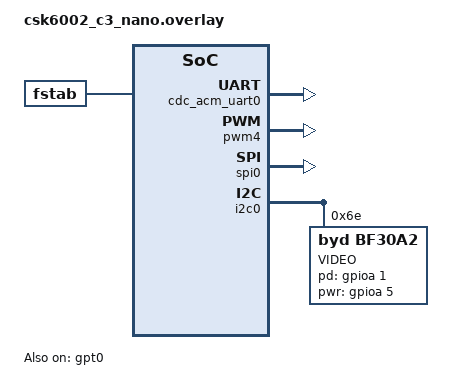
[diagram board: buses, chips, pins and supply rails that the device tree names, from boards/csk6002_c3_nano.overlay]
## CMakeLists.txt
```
cmake_minimum_required(VERSION 3.20.0)
# Copyright (c) 2018 Nordic Semiconductor ASA
# Copyright (c) 2019 Linaro Limited
#
# SPDX-License-Identifier: Apache-2.0
#
#set(ZEPHYR_EXTRA_MODULES $ENV{ZEPHYR_BASE}/../modules/lib/sof_host)

if("${BOARD}" STREQUAL "csk6002_c3_nano")
  set(BUILD_DSP_FIRMWARE OFF)
  find_package(Zephyr REQUIRED HINTS $ENV{ZEPHYR_BASE})
  message(INFO " ${BOARD} compile as Master in this sample")
  target_sources(app PRIVATE src/main.c)
  add_subdirectory(./src)
  zephyr_compile_options(-fno-short-enums)
  zephyr_ld_options(-fno-short-enums)
endif()


if(BUILD_DSP_FIRMWARE)

  set(REMOTE_ZEPHYR_DIR ${CMAKE_CURRENT_BINARY_DIR}/sof-dsp-prefix/src/sof-dsp-build/zephyr)

  if("${BOARD}" STREQUAL "csk6002_c3_nano")
    set(BOARD_REMOTE "ls_adsp_csk6")
  else()
    message(FATAL_ERROR "${BOARD} was not supported for this sample")
  endif()

  project(sof-dsp)

  enable_language(C ASM)

  #target_sources(app PRIVATE src/load_fw.c src/mem_image_store.c src/platform_info.c src/zynqmp_csk6001_rproc_example.c )

  include(ExternalProject)

  set(ENV{XCC_USE_CLANG} "1")
  set(ENV{ZEPHYR_TOOLCHAIN_VARIANT} "xcc")

  ExternalProject_Add(
    sof_remote
    SOURCE_DIR ${APPLICATION_SOURCE_DIR}/remote
    INSTALL_COMMAND ""      # This particular build system has no install command
    CMAKE_CACHE_ARGS -DBOARD:STRING=${BOARD_REMOTE}
    BUILD_BYPRODUCTS "${REMOTE_ZEPHYR_DIR}/${KERNEL_BIN_NAME}"
    # NB: Do we need to pass on more CMake variables?
    BUILD_ALWAYS True
  )

  unset(ENV{XCC_USE_CLANG})
  unset(ENV{ZEPHYR_TOOLCHAIN_VARIANT})
  target_include_directories(app PRIVATE ${CMAKE_CURRENT_SOURCE_DIR} ./src) 

endif()
```

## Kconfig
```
# Private config options for load sencond core firmware app

# SPDX-License-Identifier: Apache-2.0

# Workaround for not being able to have commas in macro arguments

DT_CHOSEN_Z_FLASH_SYSFS_STORAGE := zephyr,flash_sysfs_storage
DT_CHOSEN_Z_FLASH_CONTROLLER := zephyr,flash_controller
DT_CHOSEN_Z_INN_FLASH := zephyr,flash
DT_CHOSEN_Z_IPC_SHM := zephyr,ipc_shm

if USB_MASS_STORAGE

	config DISK_FLASH_START
		default "$(dt_chosen_reg_addr_hex,$(DT_CHOSEN_Z_FLASH_SYSFS_STORAGE))"

	config DISK_FLASH_DEV_NAME
		default "$(dt_chosen_label,$(DT_CHOSEN_Z_FLASH_CONTROLLER))"

	config DISK_VOLUME_SIZE
		default "$(dt_chosen_reg_size_hex,$(DT_CHOSEN_Z_FLASH_SYSFS_STORAGE))"


	config DISK_FLASH_MAX_RW_SIZE
		default 4096
		#default $(dt_node_int_prop_hex,$(DT_CHOSEN_Z_INN_FLASH),erase-block-size)

	config DISK_FLASH_ERASE_ALIGNMENT
		default 0x1000
		#default "$(dt_node_int_prop_hex,$(DT_CHOSEN_Z_INN_FLASH),erase-block-size)"

	config DISK_ERASE_BLOCK_SIZE
		default 0x1000
		#default "$(dt_node_int_prop_hex,$(DT_CHOSEN_Z_INN_FLASH),erase-block-size)"
endif


#SOF IPC MEMORY CONFIG
config SOF_IPC_SHM_BASE_ADDRESS
	default "$(dt_chosen_reg_addr_hex,$(DT_CHOSEN_Z_IPC_SHM))"

config SOF_IPC_SHM_SIZE
	default "$(dt_chosen_reg_size_hex,$(DT_CHOSEN_Z_IPC_SHM))"
	help
	  This option specifies size of the memory region to be used
	  for the SOF IPC shared memory

menu "Example Configuration"

    config EXAMPLE_WIFI_SSID
        string "WiFi SSID"
        default "wifi_ssid"

    config EXAMPLE_WIFI_PASSWORD
        string "WiFi password"
        default "wifi_password"

endmenu

DT_CHOSEN_Z_LISA_HEAP := zephyr,lisa_heap

config LISA_HEAP_BASE_ADDRESS
	hex
	default "$(dt_chosen_reg_addr_hex,$(DT_CHOSEN_Z_LISA_HEAP))"
	help
	  This option specifies base address of the memory region to
	  be used for the lisa heap memory

config LISA_HEAP_SIZE
	hex
	default "$(dt_chosen_reg_size_hex,$(DT_CHOSEN_Z_LISA_HEAP))"
	help
	  This option specifies size of the memory region to be used
	  for the lisa heap memory

source "Kconfig.zephyr"
```

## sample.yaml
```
tests:
  sample.board.csk6001.subsys.sof_host:
    platform_allow: csk6002_c3_nano
    tags: csk6
```

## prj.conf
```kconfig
CONFIG_PRINTK=y
CONFIG_DEBUG=y
CONFIG_LOG=y
CONFIG_LOG_MODE_IMMEDIATE=y
CONFIG_LOG_BUFFER_SIZE=8192
# CONFIG_LOG_STRDUP_MAX_STRING=128
# CONFIG_LOG_STRDUP_BUF_COUNT=64
CONFIG_LOG_DETECT_MISSED_STRDUP=n
CONFIG_LOG_BACKEND_SHOW_COLOR=y
CONFIG_LOG_BACKEND_FORMAT_TIMESTAMP=y
CONFIG_LOG_BACKEND_UART=y
CONFIG_LOG_BACKEND_UART_OUTPUT_TEXT=y
CONFIG_GPIO=y
CONFIG_MAIN_STACK_SIZE=4096
CONFIG_HEAP_MEM_POOL_SIZE=80000


#psram init 
CONFIG_CSK6001_PSRAM=y
CONFIG_NEWLIB_LIBC=y
CONFIG_TEST_RANDOM_GENERATOR=y

#file system
CONFIG_DISK_DRIVER_FLASH=y
CONFIG_FLASH_MAP=y
CONFIG_FILE_SYSTEM=y
CONFIG_FS_FATFS_CODEPAGE=936
CONFIG_FS_FATFS_LFN=y
CONFIG_FS_FATFS_MAX_LFN=255
CONFIG_FS_FATFS_LFN_MODE_BSS=y


#usb mass storage
CONFIG_USB_DEVICE_STACK=y
CONFIG_USB_DEVICE_PRODUCT="Zephyr DFU sample"
CONFIG_USB_MASS_STORAGE=y
CONFIG_MASS_STORAGE_STACK_SIZE=4096
CONFIG_SYSTEM_WORKQUEUE_STACK_SIZE=4096
CONFIG_MASS_STORAGE_DISK_NAME="NAND"

#CONFIG_USB_DRIVER_LOG_LEVEL_ERR=y
#CONFIG_USB_DEVICE_LOG_LEVEL_ERR=y
#CONFIG_USB_MASS_STORAGE_LOG_LEVEL_ERR=y
#CONFIG_USB_DRIVER_LOG_LEVEL_ERR=y

#usb cdc
CONFIG_UART_LINE_CTRL=y
CONFIG_USB_CDC_ACM_RINGBUF_SIZE=4096
CONFIG_USB_CDC_ACM_LOG_LEVEL_ERR=y

#usb dfu
# CONFIG_USB_DFU_CLASS=y
# CONFIG_IMG_MANAGER=y
# CONFIG_IMG_BLOCK_BUF_SIZE=4096
#CONFIG_BOOTLOADER_MCUBOOT=y

#Fixd for WinUSB driver install.
CONFIG_USB_DEVICE_VID=0x2FE3
CONFIG_USB_DEVICE_PID=0x200

#sof
CONFIG_SOF_HOST=y
CONFIG_AVF_DEBUG_LEVEL=4
CONFIG_AVF_STREAM_SVR_DEBUG=n
#CONFIG_AVF_LOG_LEVEL_ERR=y
CONFIG_AVF_USE_FS_FATFS=y
CONFIG_FAT_FILESYSTEM_ELM=y
#CONFIG_AVF_USE_FS_LITTLEFS=y
#CONFIG_FILE_SYSTEM_LITTLEFS=y
CONFIG_POSIX_MAX_FDS=16

#IPM
CONFIG_IPM=y

#shell
CONFIG_SHELL_ARGC_MAX=16
CONFIG_SHELL=y

#network-driver
CONFIG_SPI=y
#network-wifi
CONFIG_WIFI=y
CONFIG_ESP_HOSTED=y
CONFIG_CSK_WIFI_STATION=y
CONFIG_NET_L2_ETHERNET=y
#networking
CONFIG_NETWORKING=y
CONFIG_NET_DHCPV4=y
CONFIG_NET_IPV4=y
CONFIG_NET_TCP=y
CONFIG_NET_SOCKETS=y
CONFIG_NET_SOCKETS_CONNECT_TIMEOUT=3000
CONFIG_NET_SOCKETS_POSIX_NAMES=y
CONFIG_NET_MGMT=y
CONFIG_NET_MGMT_EVENT=y
CONFIG_NET_MGMT_EVENT_STACK_SIZE=4096
CONFIG_NET_TCP_WORKQ_STACK_SIZE=2048
CONFIG_NET_RX_STACK_SIZE=15360
CONFIG_NET_TX_STACK_SIZE=15360
CONFIG_NET_PKT_RX_COUNT=16
CONFIG_NET_PKT_TX_COUNT=16
CONFIG_NET_BUF_RX_COUNT=128
CONFIG_NET_BUF_TX_COUNT=64
CONFIG_NET_CONTEXT_NET_PKT_POOL=y

CONFIG_DNS_RESOLVER=y
CONFIG_DNS_SERVER_IP_ADDRESSES=y
CONFIG_DNS_SERVER1="8.8.8.8"

CONFIG_SYSTEM_WORKQUEUE_PRIORITY=-1
CONFIG_INIT_STACKS=y

# Network debug config
# CONFIG_NET_LOG=y

# HTTP & Websocket
CONFIG_HTTP_CLIENT=y
CONFIG_WEBSOCKET_CLIENT=n

# TLS configuration
CONFIG_MBEDTLS=y
CONFIG_MBEDTLS_BUILTIN=y
CONFIG_MBEDTLS_ENABLE_HEAP=y
CONFIG_MBEDTLS_HEAP_SIZE=10240
CONFIG_MBEDTLS_SSL_MAX_CONTENT_LEN=2048

# to enable TLS
CONFIG_NET_SOCKETS_SOCKOPT_TLS=y
CONFIG_NET_SOCKETS_TLS_MAX_CONTEXTS=10

# ListenAI moudle support
# zephyr System abstraction layer for other rtos, like freertos
CONFIG_ZPORT_SAL=y
# sal port to esp
CONFIG_ZPORT_ESP_TCP=y
CONFIG_ZPORT_ESP_HTTP=y
CONFIG_ZPORT_ESP_WS=y
CONFIG_ZPORT_ESP_ADF=y
# esp http & websocket
CONFIG_ZE_TCP_TRANSPORT=y
CONFIG_ZE_TCP_TRANSPORT_ENABLE_SSL=y
CONFIG_ZE_HTTP_CLIENT=y
CONFIG_ZE_HTTP_CLIENT_ENABLE_HTTPS=y
CONFIG_ZE_WEBSOCKET_CLIENT=y
CONFIG_BASE64=y
# esp adf - pipeline
CONFIG_ZE_ADF=y
CONFIG_ZE_ADF_HTTP_STREAM_ENABLE=y
CONFIG_ZE_ADF_FS_STREAM_ENABLE=y
CONFIG_ZE_ADF_MEMORY_STREAM_ENABLE=y
CONFIG_ZE_ADF_AVF_STREAM_ENABLE=y
# lisa player
CONFIG_LISA_PLAYER=y
CONFIG_LISA_PLAYER_AUDIO_STRCASECMP_ENABLE=y

# Custom config for example
CONFIG_LISA_PLAYER_SHELL_ENABLE=y
CONFIG_LISA_PLAYER_SHELL_DEFINE_FILE="/NAND:/{{YOUR_FILE_NAME}}.wav"
# setup local http_server in ./temp/ folder:
# Linux: export LISA_ZEP_EXEC=1 && lisa zep exec python -m http.server 8080
# Windows: set LISA_ZEP_EXEC=1 && lisa zep exec python -m http.server 8080
# 打开 http://127.0.0.1:8080
CONFIG_LISA_PLAYER_SHELL_DEFINE_URL="http://{{YOUR_PC_IP}}:8080/fdf7ea5d44626d0319e2fac116019d4af.wav"

# config wifi
CONFIG_EXAMPLE_WIFI_SSID="{{YOUR_WIFI_SSID}}"
CONFIG_EXAMPLE_WIFI_PASSWORD="{{YOUR_WIFI_PASSWORD}}"

# Enable Testing

# shell: ze_http_client test_start
CONFIG_ZE_HTTP_CLIENT_TEST_SHELL=y

# shell: ze_websocket_client test_start
CONFIG_ZE_WEBSOCKET_CLIENT_TEST_SHELL=y
# websocket server test paltform: http://www.easyswoole.com/wstool.html
CONFIG_ZE_WEBSOCKET_CLIENT_TEST_URI="ws://82.157.123.54:9010/ajaxchattest"

#shell
CONFIG_SHELL_ARGC_MAX=16
CONFIG_SHELL=y

#cache
CONFIG_CACHE_MANAGEMENT=y

# mcumgr
CONFIG_MCUMGR=y
# Required by the `taskstat` command.
CONFIG_THREAD_MONITOR=y
# Enable statistics and statistic names.
CONFIG_STATS=y
CONFIG_STATS_NAMES=y
# Enable most core commands.
# CONFIG_MCUMGR_CMD_IMG_MGMT=y
CONFIG_MCUMGR_CMD_OS_MGMT=y
CONFIG_MCUMGR_CMD_STAT_MGMT=y
CONFIG_MCUMGR_CMD_FS_MGMT=y
# Enable the shell mcumgr transport.
CONFIG_MCUMGR_SMP_SHELL=y
CONFIG_SHELL_LOG_BACKEND=n
# Enable the UDP mcumgr transports.
# CONFIG_MCUMGR_SMP_UDP=y
# CONFIG_MCUMGR_SMP_UDP_IPV4=y
# CONFIG_MCUMGR_SMP_UDP_IPV6=y
# CONFIG_NET_CONNECTION_MANAGER=y
# CONFIG_NET_BUF_USER_DATA_SIZE=24

# video
CONFIG_I2C=y
CONFIG_DMA=y
CONFIG_PWM=y
CONFIG_VIDEO=y
CONFIG_VIDEO_BF30A2=y
CONFIG_VIDEO_BUFFER_POOL_SZ_MAX=0
```

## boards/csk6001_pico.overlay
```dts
/*
 * Copyright (c) 2021 listenai Intelligent Technology (anhui) Co., Ltd.
 *
 * SPDX-License-Identifier: Apache-2.0
 */
/delete-node/ &storage_partition;

/ {
	chosen {
		/*
		 * shared memory reserved for the inter-processor communication
		 */
		zephyr,ipc_shm = &sramx1;
		zephyr,ipc = &mailbox0;
		zephyr,flash_sysfs_storage = &filesystem_part;
		zephyr,flash_controller = &flash;
	};
	sramx1:memory@30700000{
		compatible = "mmio-sram";
		reg = <0x30700000 0x1000000>;
	};
	fstab {
		compatible = "zephyr,fstab";
		lfs1: lfs1 {
			compatible = "zephyr,fstab,littlefs";
			mount-point = "/lfs1";
			partition = <&filesystem_part>;
			automount ;
			no-format;
			read-size = <16>;
			prog-size = <16>;
			cache-size = <64>;
			lookahead-size = <32>;
			block-cycles = <512>;
		};
	};

};

 
&flash0 {
	partitions {
		compatible = "fixed-partitions";
		#address-cells = <1>;
		#size-cells = <1>;
		filesystem_part: partition@160000 {
			label = "filesystem";
			reg = <0x160000 0x00600000>;
		};
		/*
		 * Reserve the final 640 KiB for file system partition
		 */
		storage_partition: partition@760000 {
			label = "storage";
			reg = <0x760000 0x00a0000>;
		};


	};
};
```

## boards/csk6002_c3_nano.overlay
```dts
/*
 * Copyright (c) 2021 listenai Intelligent Technology (anhui) Co., Ltd.
 *
 * SPDX-License-Identifier: Apache-2.0
 */
/delete-node/ &storage_partition;

/ {
	chosen {
		/*
		 * shared memory reserved for the inter-processor communication
		 */
		zephyr,ipc_shm = &sof_partition;
		zephyr,ipc = &mailbox0;
		zephyr,flash_sysfs_storage = &filesystem_part;
		zephyr,flash_controller = &flash;
		zephyr,uart-mcumgr = &uart0;
		zephyr,lisa_heap = &psram_region1;
	};
	fstab {
		compatible = "zephyr,fstab";
		lfs1: lfs1 {
			compatible = "zephyr,fstab,littlefs";
			mount-point = "/lfs1";
			partition = <&filesystem_part>;
			automount ;
			no-format;
			read-size = <16>;
			prog-size = <16>;
			cache-size = <64>;
			lookahead-size = <32>;
			block-cycles = <512>;
		};
	};

    camera_pclk {
		camera_pclk: camera_pclk {
			pwms = <&pwm4 4 PWM_POLARITY_NORMAL>;
			label = "PWM TO CAMERA PCLK";
		};
	};

};

 
&flash0 {
	partitions {
		compatible = "fixed-partitions";
		#address-cells = <1>;
		#size-cells = <1>;
		filesystem_part: partition@160000 {
			label = "filesystem";
			reg = <0x160000 0x00300000>;
		};
		/*
		 * Reserve the final 640 KiB for file system partition
		 */
		storage_partition: partition@460000 {
			label = "storage";
			reg = <0x460000 0x03a0000>;
		};


	};
};

&zephyr_udc0 {
	cdc_acm_uart0 {
		compatible = "zephyr,cdc-acm-uart";
		label = "CDC_ACM_0";
	};
};

&gpt0 {
	status = "okay";
    pwm5: pwm5 {
        status = "disabled";
    };

	pwm4: pwm4 {
        pinmuxs = <&pinmuxa 4 11>;
        clock-prescaler = <1>;
        status = "okay";
    };
};

&spi0 {
    status = "okay";
    spi-max-frequency = <25000000>;
};


&i2c0 {
        status = "okay";
        pinmuxs = <&pinmuxb 0 8>, <&pinmuxb 1 8>;
        pinmux-names = "SCL", "SDA";

        bf30a2: bf30a2@6e {
            compatible = "byd,bf30a2";
            status = "okay";
            label = "VIDEO";
            reg = <0x6e>;
            pd-gpios = <&gpioa 1 0>;
            pwr-gpios = <&gpioa 5 0>;
            product-id = <0x3b02>;
            spi = <&spi0>;
            xclk-pwm = <&pwm4>;
            xclk-freq = <12500>;
            csk6-spec;
    };
};
```

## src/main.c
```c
/*
 *
 * SPDX-License-Identifier: Apache-2.0
 */
#include <zephyr.h>
#include <device.h>
#include <fs/fs.h>
#include <devicetree.h>
#if defined(CONFIG_AVF_USE_FS_LITTLEFS)
#include <fs/littlefs.h>
#include <storage/flash_map.h>
#include <usb/usb_device.h>
#elif defined(CONFIG_AVF_USE_FS_FATFS)
#include <ff.h>
#include <usb/usb_device.h>
#endif



#if defined(CONFIG_AVF_USE_FS_LITTLEFS) || defined(CONFIG_AVF_USE_FS_FATFS)

#if defined(CONFIG_AVF_USE_FS_LITTLEFS)
/* Matches LFS_NAME_MAX */
#define MAX_PATH_LEN 255
#define PARTITION_NODE DT_NODELABEL(lfs1)
#if DT_NODE_EXISTS(PARTITION_NODE)
FS_FSTAB_DECLARE_ENTRY(PARTITION_NODE);
struct fs_mount_t *p_g_fs_mount = &FS_FSTAB_ENTRY(PARTITION_NODE);
#else /* PARTITION_NODE */
#error "Please declare the region of the file system first"
#endif /* PARTITION_NODE */
#elif defined(CONFIG_AVF_USE_FS_FATFS)
#define FS_MOUNT_POINT CONFIG_AVF_FS_MOUNT_POINT
struct fs_mount_t *p_g_fs_mount = NULL;
static struct fs_mount_t fs_mount_p;
static FATFS s_fat_fs;

#endif

static void s_fs_show(struct fs_mount_t *mp)
{
	unsigned int id = (uintptr_t)mp->storage_dev;
	struct fs_statvfs sbuf;
	const struct flash_area *pfa;
	int rc;

	rc = fs_statvfs(mp->mnt_point, &sbuf);
	if (rc < 0) {
		printk("FAIL: statvfs: %d\n", rc);
		goto out;
	}

	printk("%s: bsize = %lu ; frsize = %lu ;"
	       " blocks = %lu ; bfree = %lu\n",
	       mp->mnt_point, sbuf.f_bsize, sbuf.f_frsize, sbuf.f_blocks, sbuf.f_bfree);

	struct fs_dir_t dir;

	fs_dir_t_init(&dir);

	rc = fs_opendir(&dir, mp->mnt_point);
	printk("%s opendir: %d\n", mp->mnt_point, rc);

	while (rc >= 0) {
		struct fs_dirent ent = { 0 };

		rc = fs_readdir(&dir, &ent);
		if (rc < 0) {
			break;
		}
		if (ent.name[0] == 0) {
			printk("End of files\n");
			break;
		}
		printk("  %c %zu %s\n", (ent.type == FS_DIR_ENTRY_FILE) ? 'F' : 'D', ent.size,
		       ent.name);
	}

	(void)fs_closedir(&dir);
	printk("%s closedir\n", mp->mnt_point);
out:
	return;
}

static int s_fs_init(void)
{
	struct fs_mount_t *mp;
	int rc;

#if defined(CONFIG_AVF_USE_FS_LITTLEFS)
	mp = p_g_fs_mount;
	/* Do not mount if auto-mount has been enabled */
#if !DT_NODE_EXISTS(PARTITION_NODE) ||                                                             \
	!(FSTAB_ENTRY_DT_MOUNT_FLAGS(PARTITION_NODE) & FS_MOUNT_FLAG_AUTOMOUNT)

	rc = fs_mount(mp);
	if (rc < 0) {
		printk("FAIL: mount id %" PRIuPTR " at %s: %d\n", (uintptr_t)mp->storage_dev,
		       mp->mnt_point, rc);
		return rc;
	}
	printk("%s mount: %d\n", mp->mnt_point, rc);
#else
	printk("%s automounted\n", mp->mnt_point);
#endif

#elif defined(CONFIG_AVF_USE_FS_FATFS)
	if (p_g_fs_mount != NULL) {
		printk("The mount point<%s> busy!\n", p_g_fs_mount->mnt_point);
		return -1;
	}
	p_g_fs_mount = &fs_mount_p;
	mp = p_g_fs_mount;
	memset(mp, 0, sizeof(struct fs_mount_t));
	mp->type = FS_FATFS;
	/*mp->flags |= FS_MOUNT_FLAG_NO_FORMAT;*/
	mp->fs_data = &s_fat_fs;
	mp->mnt_point = FS_MOUNT_POINT;
	rc = fs_mount(mp);
	if (rc < 0) {
		printk("FAIL: mount id %" PRIuPTR " at %s: %d\n", (uintptr_t)mp->storage_dev,
		       mp->mnt_point, rc);
		return rc;
	}
	printk("%s mount: %d\n", mp->mnt_point, rc);
#endif
	s_fs_show(mp);

	return 0;
}
#endif

static void s_fs_mount(void)
{
	
	int ret;
//file system init
#if defined(CONFIG_AVF_USE_FS_LITTLEFS) || defined(CONFIG_AVF_USE_FS_FATFS)
	s_fs_init();
#else
	#error "Please define file system type!"
#endif

#if defined(CONFIG_AVF_USE_FS_FATFS)
	ret = usb_enable(NULL);
	if (ret != 0) {
		printk("Failed to enable USB");
		return;
	}
#elif defined(CONFIG_AVF_USE_FS_LITTLEFS)
	if(0 != strcmp(CONFIG_AVF_FS_MOUNT_POINT,p_g_fs_mount->mnt_point)){
		__ASSERT(0,"The avf fs mount point error!");
	}

#endif
}

extern void sof_domain(void);
extern void network_domain(void);
struct k_thread sof_thread;

void main(void)
{

	s_fs_mount();
#ifdef CONFIG_WIFI
	network_domain();
	k_msleep(1000);
#endif
	sof_domain();

	while (1) {
		k_msleep(1000);
	}
}
```

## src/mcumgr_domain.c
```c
#include <zephyr.h>
#include <stats/stats.h>

#ifdef CONFIG_MCUMGR_CMD_OS_MGMT
#include "os_mgmt/os_mgmt.h"
#endif
#ifdef CONFIG_MCUMGR_CMD_IMG_MGMT
#include "img_mgmt/img_mgmt.h"
#endif
#ifdef CONFIG_MCUMGR_CMD_STAT_MGMT
#include "stat_mgmt/stat_mgmt.h"
#endif
#ifdef CONFIG_MCUMGR_CMD_SHELL_MGMT
#include "shell_mgmt/shell_mgmt.h"
#endif
#if defined(CONFIG_MCUMGR_CMD_FS_MGMT) && (defined(CONFIG_AVF_USE_FS_FATFS) || defined(CONFIG_AVF_USE_FS_LITTLEFS))
#include "fs_mgmt/fs_mgmt.h"
#endif


#define LOG_LEVEL LOG_LEVEL_DBG
#include <logging/log.h>
LOG_MODULE_REGISTER(smp_sample);

#include "common.h"

/* Define an example stats group; approximates seconds since boot. */
STATS_SECT_START(smp_svr_stats)
STATS_SECT_ENTRY(ticks)
STATS_SECT_END;

/* Assign a name to the `ticks` stat. */
STATS_NAME_START(smp_svr_stats)
STATS_NAME(smp_svr_stats, ticks)
STATS_NAME_END(smp_svr_stats);

/* Define an instance of the stats group. */
STATS_SECT_DECL(smp_svr_stats) smp_svr_stats;

void mcumgr_domain_task(void *arg1, void *arg2, void *arg3)
{
	int rc = STATS_INIT_AND_REG(smp_svr_stats, STATS_SIZE_32,
				    "smp_svr_stats");
	if (rc < 0) {
		LOG_ERR("Error initializing stats system [%d]", rc);
	}

	/* Register the built-in mcumgr command handlers. */
#ifdef CONFIG_MCUMGR_CMD_FS_MGMT
	fs_mgmt_register_group();
#endif
#ifdef CONFIG_MCUMGR_CMD_OS_MGMT
	os_mgmt_register_group();
#endif
#ifdef CONFIG_MCUMGR_CMD_IMG_MGMT
	img_mgmt_register_group();
#endif
#ifdef CONFIG_MCUMGR_CMD_STAT_MGMT
	stat_mgmt_register_group();
#endif
#ifdef CONFIG_MCUMGR_CMD_SHELL_MGMT
	shell_mgmt_register_group();
#endif
#ifdef CONFIG_MCUMGR_CMD_FS_MGMT
	fs_mgmt_register_group();
#endif
#ifdef CONFIG_MCUMGR_SMP_BT
	start_smp_bluetooth();
#endif
#ifdef CONFIG_MCUMGR_SMP_UDP
	start_smp_udp();
#endif
	/* using __TIME__ ensure that a new binary will be built on every
	 * compile which is convient when testing firmware upgrade.
	 */
	LOG_INF("build time: " __DATE__ " " __TIME__);

	/* The system work queue handles all incoming mcumgr requests.  Let the
	 * main thread idle while the mcumgr server runs.
	 */
	while (1) {
		k_sleep(K_MSEC(1000));
		STATS_INC(smp_svr_stats, ticks);
	}
}

struct k_thread mcumgr_thread;

K_KERNEL_STACK_DEFINE(mcumgr_stack, 512);

void mcumgr_domain(void){
	k_thread_create(&mcumgr_thread, mcumgr_stack,
				K_KERNEL_STACK_SIZEOF(mcumgr_stack), &mcumgr_domain_task, NULL, NULL, NULL,
				1, 0, K_NO_WAIT);
	k_thread_system_pool_assign(&mcumgr_thread);
}
```

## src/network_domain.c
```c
#include <zephyr.h>

#include <stdlib.h>
#include <sys/printk.h>
#include <sys/sys_heap.h>

#include <net/net_if.h>
#include <net/net_core.h>
#include <net/net_context.h>
#include <net/net_mgmt.h>

#include <logging/log.h>
LOG_MODULE_REGISTER(csk_wifi_sta, LOG_LEVEL_DBG);

#include "csk6001/csk_wifi.h"

static csk_wifi_event_cb_t wifi_event_cb;
static struct net_mgmt_event_callback dhcp_cb;
static void handler_cb(struct net_mgmt_event_callback *cb, uint32_t mgmt_event, struct net_if *iface)
{
    if (mgmt_event != NET_EVENT_IPV4_DHCP_BOUND) {
        return;
    }

    char buf[NET_IPV4_ADDR_LEN];

    printk("Your address: %s\n", net_addr_ntop(AF_INET, &iface->config.dhcpv4.requested_ip, buf, sizeof(buf)));
    printk("Lease time: %u seconds\n", iface->config.dhcpv4.lease_time);
    printk("Subnet: %s\n", net_addr_ntop(AF_INET, &iface->config.ip.ipv4->netmask, buf, sizeof(buf)));
    printk("Router: %s\n", net_addr_ntop(AF_INET, &iface->config.ip.ipv4->gw, buf, sizeof(buf)));

}


static void wifi_event_handler(csk_wifi_event_t events, void *event_data, uint32_t data_len, void *arg)
{
    if (events & CSK_WIFI_EVT_STA_CONNECTED) {
        printk("[WiFi sta] connected\n");
    } else if (events & CSK_WIFI_EVT_STA_DISCONNECTED) {
        printk("[WiFi sta] disconnected\n");
    } else {
        abort();
    }
}

void network_domain_task(void){
    wifi_event_cb.handler = &wifi_event_handler;
    wifi_event_cb.events = CSK_WIFI_EVT_STA_CONNECTED | CSK_WIFI_EVT_STA_DISCONNECTED;
    wifi_event_cb.arg = NULL;
    csk_wifi_add_callback(&wifi_event_cb);

    csk_wifi_sta_config_t sta_config = {
        .ssid = CONFIG_EXAMPLE_WIFI_SSID,
        .pwd = CONFIG_EXAMPLE_WIFI_PASSWORD,
        .encryption_mode = CSK_WIFI_AUTH_WPA2_PSK
    };

    int retry_count = 0;
    csk_wifi_result_t wifi_result;
    do {
        printk("connecting to wifi: %s ...\n", sta_config.ssid);
        int ret = csk_wifi_sta_connect(&sta_config, &wifi_result, K_FOREVER);
        if (ret == 0) {
            break;
        } else {
            if (wifi_result == CSK_WIFI_ERR_STA_FAILED) {
                retry_count++;
                printk("retry to connecting wifi ... %d\n", retry_count);
            } else {
                printk("AP not found or invalid password\n");
                abort();
            }
        }
    } while (retry_count < 10);
    net_mgmt_init_event_callback(&dhcp_cb, handler_cb, NET_EVENT_IPV4_DHCP_BOUND);
    net_mgmt_add_event_callback(&dhcp_cb);
    struct net_if *iface = net_if_get_default();
    if (!iface) {
        printk("wifi interface not available");
        return;
    }
    net_dhcpv4_start(iface);

	while (1) {
		k_sleep(K_MSEC(1000));
	}
}


struct k_thread network_thread;

K_KERNEL_STACK_DEFINE(network_stack, 512);

void network_domain(void){
	k_thread_create(&network_thread, network_stack,
				K_KERNEL_STACK_SIZEOF(network_stack), &network_domain_task, NULL, NULL, NULL,
				2, 0, K_NO_WAIT);
	k_thread_system_pool_assign(&network_thread);
}
```

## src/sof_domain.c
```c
/*
 * Copyright (c) 2020 Intel Corporation.
 *
 * SPDX-License-Identifier: Apache-2.0
 */

#include <zephyr.h>
#include <avf_platform.h>



void sof_domain(void){

    avf_stream_platform_register();
}
```
